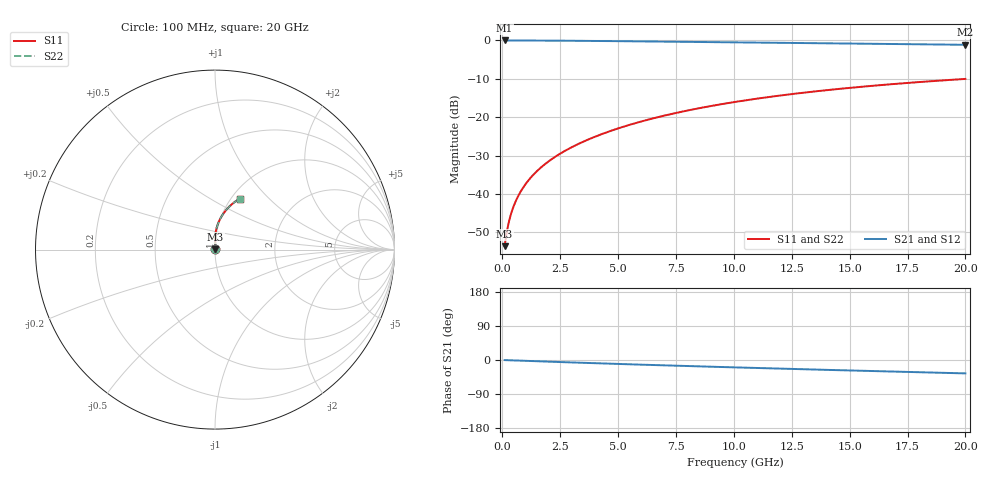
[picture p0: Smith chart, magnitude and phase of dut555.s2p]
! Touchstone file exported from HFSS 2024.1.0
!  File:  C:/UserFiles/LocalFiles/RDL_TSV_Batchsim/temp_RDL_bottom_555_1779689563.aedt
!  Generated:  02:15:01 PM May 25, 2026
!  Design:  RDL_bottom
!  Project:  temp_RDL_bottom_555_1779689563
!  Setup:  Setup1
!  Solution:  Sweep
! Variables:
!  dtsv = 10.80580581um
!  hbump = 3um
!  htsv = 83.27um
!  ldown = 488.92um
!  lrdl = 100um
!  p = 40
!  p1 = 59.33um
!  rhole = 1um
!  t = 450um
!  tdown = 4.87um
!  trdl = 3.915915916um
!  wdown = 27.38um
!  wrdl = 20um
# GHz S MA R 50.000000
! Terminal data exported
! Port[1] = RDL1_T1
! Port[2] = RDL1_T2
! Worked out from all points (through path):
!   200 points, 100 MHz to 20 GHz, reference 50 ohm
!   highest |S21| = -0.01 dB at 100 MHz (marker M1); lowest = -1.1 dB at 20 GHz (marker M2)
!   group delay of S21, straight-line fit = 4.84 ps
!   lowest |S11| = -53.6 dB at 100 MHz (marker M3), VSWR 1.00, Z = 50.1 + j0.146 ohm
!   |S11| at or under -10 dB: start of sweep to end of sweep
!   |S22| runs from -53.6 to -10.0 dB; largest |S21 - S12| = 3.5e-15
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0.1  0.002085 44.3  0.9985 -0.2  0.9985 -0.2  0.002085 44.3
! Gamma 0 0 0 0
! Port Impedance 50 0 50 0
0.2  0.003271 61.0  0.9984 -0.5  0.9984 -0.5  0.003271 61.0
0.3  0.004533 68.2  0.9982 -0.7  0.9982 -0.7  0.004534 68.2
0.4  0.005791 72.2  0.998 -0.9  0.998 -0.9  0.005792 72.2
0.5  0.007042 75.0  0.9979 -1.1  0.9979 -1.1  0.007042 75.0
0.7  0.009547 78.7  0.9976 -1.5  0.9976 -1.5  0.009547 78.7
1  0.01335 82.1  0.997 -2.2  0.997 -2.2  0.01335 82.1
1.4  0.01854 84.7  0.996 -3.1  0.996 -3.1  0.01854 84.7
1.7  0.02252 86.0  0.9951 -3.7  0.9951 -3.7  0.02252 86.0
2  0.02656 87.0  0.9941 -4.3  0.9941 -4.3  0.02656 87.0
2.7  0.0363 88.4  0.9911 -5.8  0.9911 -5.8  0.0363 88.4
3.5  0.04797 89.2  0.9869 -7.5  0.9869 -7.5  0.04796 89.2
4.2  0.05864 89.3  0.9828 -8.9  0.9828 -8.9  0.05863 89.3
5  0.07133 89.1  0.9777 -10.4  0.9777 -10.4  0.07131 89.1
5.9  0.08613 88.4  0.9717 -12.1  0.9717 -12.1  0.0861 88.4
6.8  0.1014 87.4  0.9655 -13.8  0.9655 -13.8  0.1013 87.4
8.4  0.129 85.0  0.9546 -16.7  0.9546 -16.7  0.129 85.0
10.1  0.1587 82.1  0.943 -19.6  0.943 -19.6  0.1586 82.0
11.7  0.1862 79.1  0.9322 -22.3  0.9322 -22.3  0.1861 79.1
13.4  0.2148 75.9  0.9208 -25.1  0.9208 -25.1  0.2147 75.9
16.7  0.2672 69.9  0.8988 -30.3  0.8988 -30.3  0.267 69.9
20  0.3149 64.1  0.8768 -35.3  0.8768 -35.3  0.3148 64.1
